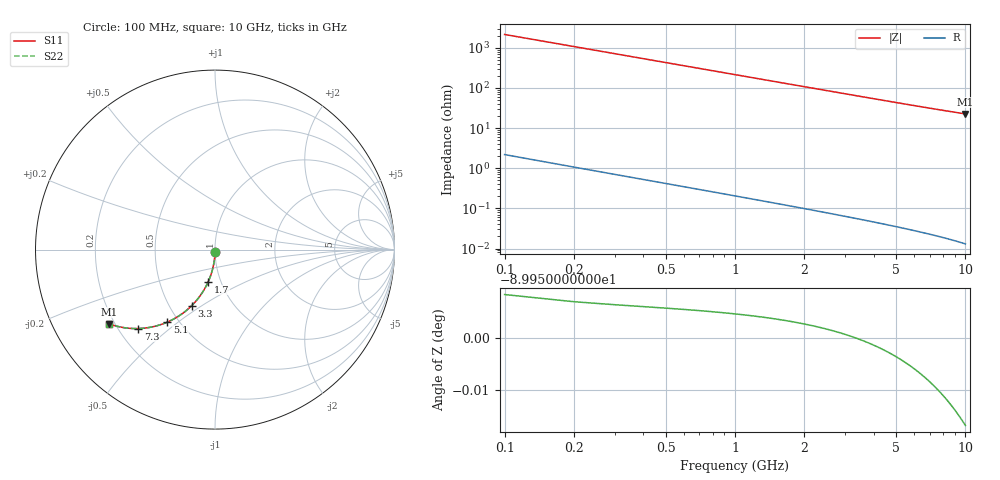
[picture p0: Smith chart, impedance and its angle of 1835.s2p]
# Hz S RI R 50.00
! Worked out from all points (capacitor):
!   100 points, 100 MHz to 10 GHz, reference 50 ohm
!   read as one part in shunt: C = 744 fF near 100 MHz
!   lowest |Z| = 22.5 ohm at 10 GHz (marker M1)
!   S11 on the Smith chart (normalised r, x): 100 MHz: 1.00, -0.02; 1.7 GHz: 0.87, -0.32; 3.3 GHz: 0.64, -0.45; 5.1 GHz: 0.44, -0.46; 7.3 GHz: 0.28, -0.39; 10 GHz: 0.18, -0.31
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1e8  0.000214 -0.0109  0.9995 -0.0124  0.9995 -0.0124  0.000214 -0.0109
2e8  -0.000203 -0.0219  0.9991 -0.0248  0.9991 -0.0248  -0.000203 -0.0219
3e8  -0.000892 -0.0328  0.9984 -0.0372  0.9984 -0.0372  -0.000892 -0.0328
4e8  -0.00185 -0.0437  0.9974 -0.0496  0.9974 -0.0496  -0.00185 -0.0437
5e8  -0.00308 -0.0546  0.9962 -0.0619  0.9962 -0.0619  -0.00308 -0.0546
6e8  -0.00458 -0.0654  0.9946 -0.0742  0.9946 -0.0742  -0.00458 -0.0654
8e8  -0.00836 -0.0868  0.9908 -0.0986  0.9908 -0.0986  -0.00836 -0.0868
9e8  -0.0106 -0.0974  0.9885 -0.1107  0.9885 -0.1107  -0.0106 -0.0974
1.1e9  -0.016 -0.1184  0.9831 -0.1347  0.9831 -0.1347  -0.016 -0.1184
1.4e9  -0.0258 -0.1491  0.9732 -0.1698  0.9732 -0.1698  -0.0258 -0.1491
1.7e9  -0.0377 -0.1788  0.9612 -0.2039  0.9612 -0.2039  -0.0377 -0.1788
1.8e9  -0.0422 -0.1884  0.9567 -0.215  0.9567 -0.215  -0.0422 -0.1884
2.1e9  -0.0567 -0.2163  0.9421 -0.2474  0.9421 -0.2474  -0.0567 -0.2163
2.5e9  -0.0786 -0.2513  0.9199 -0.2883  0.9199 -0.2883  -0.0786 -0.2513
3.3e9  -0.1299 -0.3123  0.8681 -0.3613  0.8681 -0.3613  -0.1299 -0.3123
3.4e9  -0.1369 -0.3191  0.8611 -0.3695  0.8611 -0.3695  -0.1369 -0.3191
4.2e9  -0.1955 -0.3659  0.8017 -0.4284  0.8017 -0.4284  -0.1955 -0.3659
5.1e9  -0.2649 -0.4037  0.7314 -0.4798  0.7314 -0.4798  -0.2649 -0.4037
6.7e9  -0.386 -0.4367  0.6081 -0.5372  0.6081 -0.5372  -0.386 -0.4367
7.3e9  -0.4284 -0.4398  0.5647 -0.5497  0.5647 -0.5497  -0.4284 -0.4398
8.4e9  -0.5002 -0.4358  0.4908 -0.563  0.4908 -0.563  -0.5002 -0.4358
1e10  -0.5896 -0.4137  0.3978 -0.5665  0.3978 -0.5665  -0.5896 -0.4137
